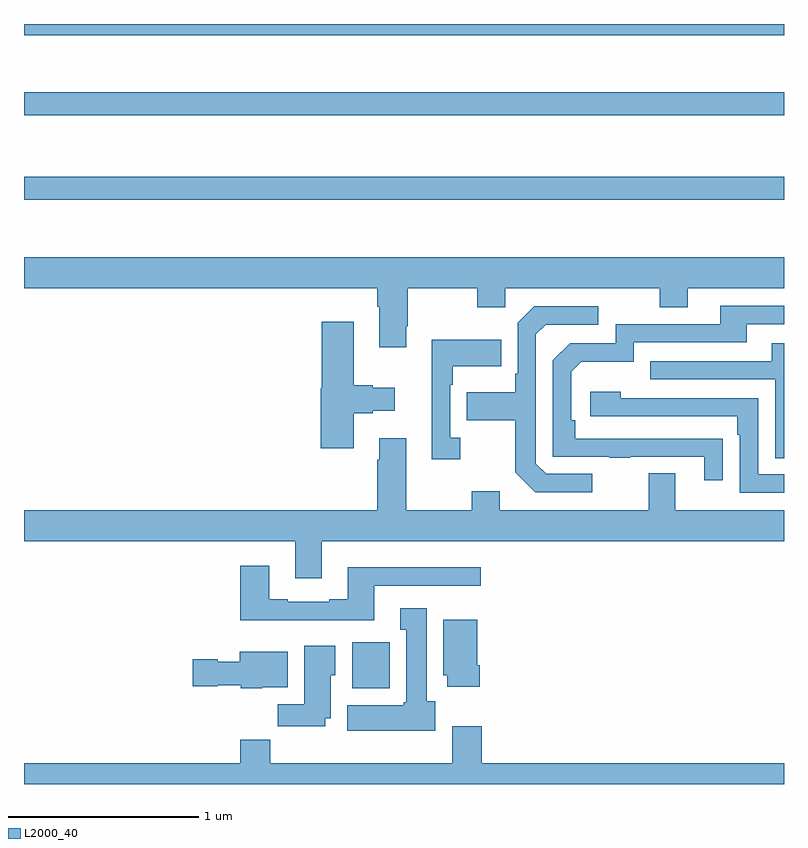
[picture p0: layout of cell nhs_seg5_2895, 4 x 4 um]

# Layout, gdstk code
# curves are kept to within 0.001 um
import gdstk
lib = gdstk.Library(unit=1e-6, precision=1e-09)
def R(c, l, rs):  # rectangles x0, y0, x1, y1
    for r in rs: c.add(gdstk.rectangle(r[:2], r[2:], *l))
def P(c, l, *ps):  # polygons
    for p in ps: c.add(gdstk.Polygon(p, *l))
L2000_40 = (2000, 40)

nhs_seg5_2895 = lib.new_cell('nhs_seg5_2895')
R(nhs_seg5_2895, L2000_40, [(280.727,873.302,280.924,873.544), (279,875.874,283,875.995), (279,876.318,283,876.439), (279,876.74,283,876.799)])
P(nhs_seg5_2895, L2000_40, [(281.011,875.209),(281.019,875.209),(281.019,875.408),(281.386,875.408),(281.386,875.309),(281.532,875.309),(281.532,875.408),(282.346,875.408),(282.346,875.309),(282.493,875.309),(282.493,875.408),(283,875.408),(283,875.572),(279,875.572),(279,875.408),(280.859,875.408),(280.859,875.312),(280.871,875.312),(280.871,875.097),(281.011,875.097)],
  [(282.677,874.616),(281.9,874.617),(281.9,874.714),(281.88,874.714),(281.88,874.968),(281.933,875.021),(282.21,875.021),(282.21,875.124),(282.805,875.124),(282.805,875.22),(283,875.22),(283,875.316),(282.665,875.316),(282.665,875.22),(282.114,875.22),(282.114,875.118),(281.874,875.118),(281.784,875.028),(281.784,874.521),(282.079,874.521),(282.079,874.516),(282.191,874.516),(282.191,874.521),(282.581,874.521),(282.581,874.398),(282.677,874.398)],
  [(281.992,874.431),(281.748,874.431),(281.694,874.485),(281.694,875.166),(281.745,875.217),(282.022,875.217),(282.022,875.313),(281.685,875.313),(281.598,875.226),(281.598,874.957),(281.586,874.957),(281.586,874.861),(281.329,874.861),(281.329,874.714),(281.586,874.714),(281.586,874.441),(281.691,874.335),(281.992,874.335)],
  [(280.735,874.751),(280.835,874.751),(280.835,874.763),(280.951,874.763),(280.951,874.885),(280.835,874.885),(280.835,874.898),(280.735,874.898),(280.735,875.233),(280.568,875.233),(280.568,874.881),(280.562,874.881),(280.562,874.566),(280.735,874.566)],
  [(281.296,874.622),(281.244,874.622),(281.244,874.901),(281.257,874.901),(281.257,874.997),(281.513,874.997),(281.513,875.137),(281.147,875.137),(281.147,874.509),(281.296,874.509)],
  [(283,875.119),(282.935,875.119),(282.935,875.025),(282.295,875.025),(282.295,874.929),(282.954,874.929),(282.954,874.513),(283,874.513)],
  [(283,874.428),(282.864,874.428),(282.864,874.83),(282.14,874.83),(282.14,874.864),(281.979,874.864),(281.979,874.734),(282.755,874.734),(282.755,874.637),(282.768,874.637),(282.768,874.332),(283,874.332)],
  [(280.567,874.076),(283,874.076),(283,874.24),(282.427,874.24),(282.427,874.435),(282.287,874.435),(282.287,874.24),(281.503,874.24),(281.503,874.339),(281.356,874.339),(281.356,874.24),(281.011,874.24),(281.011,874.618),(280.871,874.618),(280.871,874.505),(280.859,874.505),(280.859,874.24),(279,874.24),(279,874.076),(280.427,874.076),(280.427,873.882),(280.567,873.882)],
  [(280.843,873.843),(281.404,873.843),(281.404,873.94),(280.703,873.94),(280.703,873.772),(280.607,873.772),(280.607,873.759),(280.387,873.759),(280.387,873.772),(280.291,873.772),(280.291,873.949),(280.139,873.949),(280.139,873.662),(280.843,873.662)],
  [(281.164,873.234),(281.119,873.234),(281.119,873.724),(280.979,873.724),(280.979,873.611),(281.012,873.611),(281.012,873.228),(280.999,873.228),(280.999,873.214),(280.7,873.214),(280.7,873.08),(281.164,873.08)],
  [(281.399,873.424),(281.386,873.424),(281.386,873.664),(281.207,873.664),(281.207,873.372),(281.228,873.372),(281.228,873.312),(281.399,873.312)],
  [(280.585,873.146),(280.615,873.146),(280.615,873.372),(280.639,873.372),(280.639,873.526),(280.475,873.526),(280.475,873.22),(280.336,873.22),(280.336,873.102),(280.585,873.102)],
  [(280.254,873.308),(280.387,873.308),(280.387,873.496),(280.136,873.496),(280.136,873.442),(280.02,873.442),(280.02,873.455),(279.888,873.455),(279.888,873.313),(280.02,873.313),(280.02,873.32),(280.14,873.32),(280.14,873.302),(280.254,873.302)],
  [(283,872.908),(281.408,872.908),(281.408,873.103),(281.255,873.103),(281.255,872.908),(280.295,872.908),(280.295,873.032),(280.139,873.032),(280.139,872.908),(279,872.908),(279,872.799),(283,872.799)])

lib.write_gds('nhs_seg5_2895.gds')
